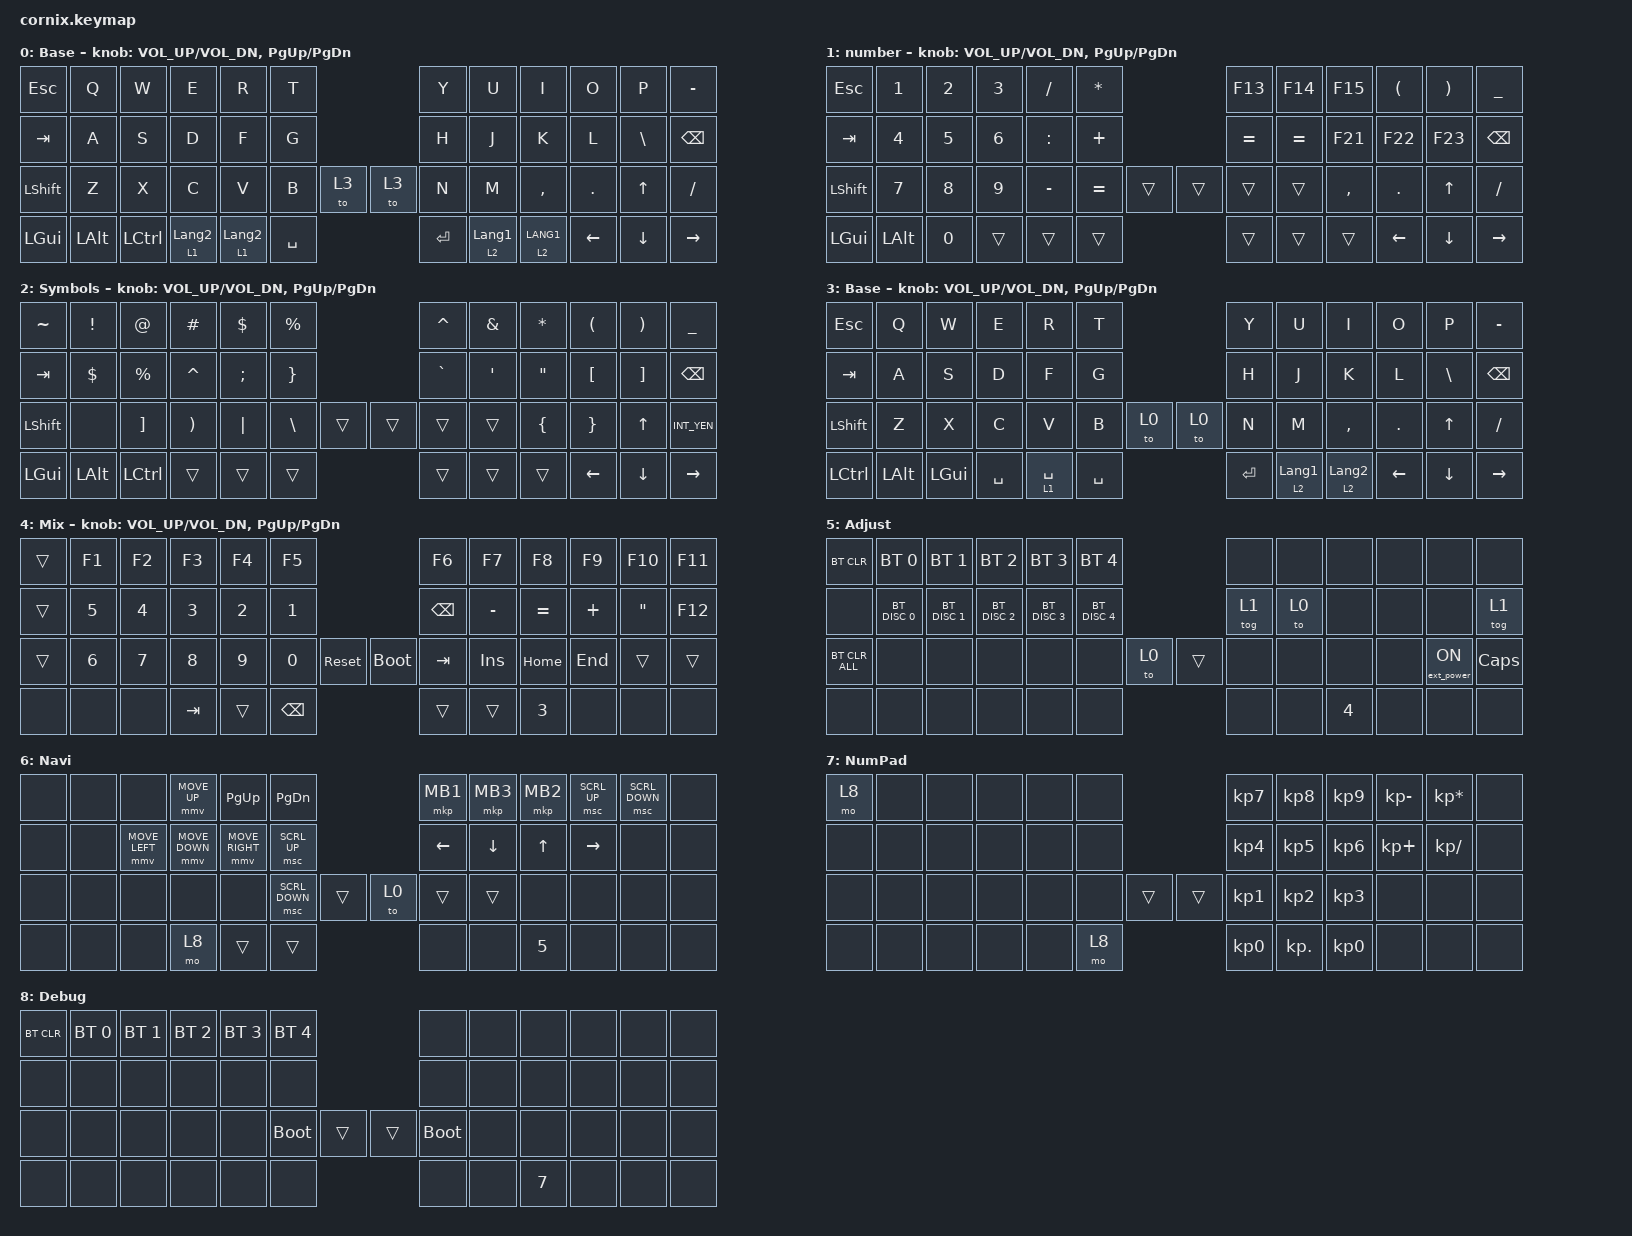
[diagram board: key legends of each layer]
/*
 * Copyright (c) 2020 The ZMK Contributors
 *
 * SPDX-License-Identifier: MIT
 */

#include "zmk-helpers/helper.h"
#include "includes/cornix54.h"

// tap windows for ctl alt and gui

#define HM_TAPPING_TERM 250
#define HM_TAPPING_REPEAT 210

// quick tapping for shift

#define HM_TAPPING_TERM_FAST 200
#define HM_PRIOR_IDLE 70
#define BASE 0
#define WIN 1
#define LOWER 2
#define RAISE 3
#define ADJUST 4
#define NAVI   5
#define NUM    6
#define DEBUG  7

// https://github.com/urob/zmk-config/tree/main#timeless-homerow-mods

#define KEYS_L LT0 LT1 LT2 LT3 LT4 LT5 LM0 LM1 LM2 LM3 LM4 LM5 LB0 LB1 LB2 LB3 LB4 LB5  // left hand
#define KEYS_R RT0 RT1 RT2 RT3 RT4 RT5 RM0 RM1 RM2 RM3 RM4 RM5 RB0 RB1 RB2 RB3 RB4 RB5  // right hand
#define THUMBS LH1 LH0 RH0 RH1
#define KEYS_T LH1 LH0 RH0 RH1
#define ZMK_POINTING_DEFAULT_SCRL_VAL 15

#include <behaviors.dtsi>
#include <dt-bindings/zmk/bt.h>
#include <dt-bindings/zmk/ext_power.h>
#include <dt-bindings/zmk/keys.h>
#include <dt-bindings/zmk/pointing.h>

/ {
    // Activate ADJUST layer by pressing raise and lower

    behaviors {
        hm_l: homerow_mods_left {
            compatible = "zmk,behavior-hold-tap";
            #binding-cells = <2>;
            bindings = <&kp>, <&kp>;

            flavor = "balanced";
            tapping-term-ms = <HM_TAPPING_TERM>;
            quick-tap-ms = <200>;                // repeat on tap-into-hold
            require-prior-idle-ms = <HM_PRIOR_IDLE>;
            hold-trigger-key-positions = <KEYS_R KEYS_T>;
            hold-trigger-on-release;
        };

        hm_r: homerow_mods_right {
            compatible = "zmk,behavior-hold-tap";
            #binding-cells = <2>;
            bindings = <&kp>, <&kp>;

            flavor = "balanced";
            tapping-term-ms = <HM_TAPPING_TERM>;
            quick-tap-ms = <200>;
            require-prior-idle-ms = <HM_PRIOR_IDLE>;
            hold-trigger-key-positions = <KEYS_L KEYS_T>;
            hold-trigger-on-release;
        };

        // Positional Homerow mods for shift
        // Use faster tapping term and disable some features that may
        // cause false negatives.

        hm_shift_l: hm_shift_l {
            compatible = "zmk,behavior-hold-tap";
            #binding-cells = <2>;
            bindings = <&kp>, <&kp>;

            //flavor = "balanced";

            flavor = "balanced";
            tapping-term-ms = <HM_TAPPING_TERM_FAST>;
            quick-tap-ms = <200>;
            require-prior-idle-ms = <HM_PRIOR_IDLE>;
            hold-trigger-key-positions = <KEYS_R KEYS_T>;
            hold-trigger-on-release;
        };

        hm_shift_r: hm_shift_r {
            compatible = "zmk,behavior-hold-tap";
            #binding-cells = <2>;
            bindings = <&kp>, <&kp>;

            flavor = "balanced";
            tapping-term-ms = <HM_TAPPING_TERM_FAST>;
            quick-tap-ms = <200>;
            require-prior-idle-ms = <HM_PRIOR_IDLE>;
            hold-trigger-key-positions = <KEYS_L KEYS_T>;

            // for quick tapping; shift+~

            hold-trigger-on-release;
        };

        /*
         * Non-Positional Homerow Mods
         * Used for &mm_grescm_gui behavior on left hand.
         *
         * Usage: &hm LSHFT T
         * Tap: T
         * Tap-Tap-Hold: Repeat T
         * Hold: LSHIFT
         */

        hm: homerow_mods {
            compatible = "zmk,behavior-hold-tap";
            #binding-cells = <2>;
            bindings = <&kp>, <&kp>;

            flavor = "balanced";
            tapping-term-ms = <HM_TAPPING_TERM>;
            quick-tap-ms = <200>;
        };

        lt: layer_tap {
            compatible = "zmk,behavior-hold-tap";
            #binding-cells = <2>;
            bindings = <&mo>, <&kp>;

            flavor = "hold-preferred";
            tapping-term-ms = <HM_TAPPING_TERM>;
            quick-tap-ms = <200>;
        };
    };

    conditional_layers {
        compatible = "zmk,conditional-layers";

        adjust_layer {
            if-layers = <4 2>;
            then-layer = <5>;
        };
    };

    combos {
        compatible = "zmk,combos";

        layer3 {
            bindings = <&mo 4>;
            key-positions = <46 41 1>;
        };
    };

    macros {
        kagikakko: kagikakko {
            compatible = "zmk,behavior-macro";
            #binding-cells = <0>;
            bindings = <&kp LEFT_BRACKET &kp RIGHT_BRACKET>;
            label = "KAGIKAKKO";
        };
    };

    keymap {
        compatible = "zmk,keymap";

        base {
            display-name = "Base";

            // ------------------------------------------------------------------------------------------------------------
            // |   `   |  1  |  2  |  3   |  4   |  5   |                   |  6   |  7    |  8    |  9   |   0   |       |
            // |  ESC  |  Q  |  W  |  E   |  R   |  T   |                   |  Y   |  U    |  I    |  O   |   P   | BKSPC |
            // |  TAB  |  A  |  S  |  D   |  F   |  G   |                   |  H   |  J    |  K    |  L   |   ;   |   '   |
            // | SHIFT |  Z  |  X  |  C   |  V   |  B   |  MUTE  |  |       |  N   |  M    |  ,    |  .   |   /   | SHIFT |
            //               | GUI | ALT  | CTRL | LOWER|  ENTER |  | SPACE | RAISE| CTRL  | ALT   | GUI  |

            bindings = <
&kp ESC    &kp Q     &kp W      &kp E             &kp R             &kp T                    &kp Y      &kp U             &kp I        &kp O     &kp P           &kp MINUS
&kp TAB    &kp A     &kp S      &kp D             &kp F             &kp G                    &kp H      &kp J             &kp K        &kp L     &kp BSLH        &kp BSPC
&kp LSHFT  &kp Z     &kp X      &kp C             &kp V             &kp B      &to 3  &to 3  &kp N      &kp M             &kp COMMA    &kp DOT   &kp UP_ARROW    &kp FSLH
&kp LGUI   &kp LALT  &kp LCTRL  &lt 1 LANGUAGE_2  &lt 1 LANGUAGE_2  &kp SPACE                &kp ENTER  &lt 2 LANGUAGE_1  &lt 2 LANG1  &kp LEFT  &kp DOWN_ARROW  &kp RIGHT
            >;

            sensor-bindings = <&inc_dec_kp C_VOL_UP C_VOL_DN &inc_dec_kp PG_UP PG_DN>;
        };

        lower {
            display-name = "number";

            // ------------------------------------------------------------------------------------------------------------
            // |   `   |  1  |  2  |  3   |  4   |  5   |                   |  6   |  7    |  8    |  9   |   0   |       |
            // |  ESC  |  Q  |  W  |  E   |  R   |  T   |                   |  Y   |  U    |  I    |  O   |   P   | BKSPC |
            // |  TAB  |  A  |  S  |  D   |  F   |  G   |                   |  H   |  J    |  K    |  L   |   ;   |   '   |
            // | SHIFT |  Z  |  X  |  C   |  V   |  B   |  MUTE  |  |       |  N   |  M    |  ,    |  .   |   /   | SHIFT |
            //               | GUI | ALT  | CTRL | LOWER|  ENTER |  | SPACE | RAISE| CTRL  | ALT   | GUI  |

            bindings = <
&kp ESC    &kp N1    &kp N2  &kp N3  &kp SLASH  &kp ASTERISK                  &kp F13    &kp F14    &kp F15    &kp LEFT_PARENTHESIS  &kp RIGHT_PARENTHESIS  &kp UNDERSCORE
&kp TAB    &kp N4    &kp N5  &kp N6  &kp COLON  &kp PLUS                      &kp EQUAL  &kp EQUAL  &kp F21    &kp F22               &kp F23                &kp BACKSPACE
&kp LSHFT  &kp N7    &kp N8  &kp N9  &kp MINUS  &kp EQUAL     &trans  &trans  &trans     &trans     &kp COMMA  &kp DOT               &kp UP_ARROW           &kp FSLH
&kp LGUI   &kp LALT  &kp N0  &trans  &trans     &trans                        &trans     &trans     &trans     &kp LEFT_ARROW        &kp DOWN_ARROW         &kp RIGHT_ARROW
            >;

            sensor-bindings = <&inc_dec_kp C_VOL_UP C_VOL_DN &inc_dec_kp PG_UP PG_DN>;
        };

        raise {
            display-name = "Symbols";

            // TODO: Some binds are waiting for shifted keycode support.
            // -------------------------------
            // |       |  F1 |  F2 |  F3  |  F4  |  F5  |                   |  F6  |  F7   |  F8   |  F9  |  F10  |  F11  |
            // |   `   |  1  |  2  |  3   |  4   |  5   |                   |  6   |  7    |  8    |  9   |   0   |  F12  |
            // |       |  !  |  @  |  #   |  $   |  %   |                   |  ^   |  &    |  *    |  (   |   )   |   |   |
            // |       |  =  |  -  |  +   |  {   |  }   |        |  |       |  [   |  ]    |  ;    |  :   |   \   |       |
            //               |     |      |      |      |        |  |       |      |       |       |      |

            bindings = <
&kp TILDE  &kp EXCLAMATION  &kp AT       &kp HASH   &kp DLLR       &kp PRCNT                  &kp CARET  &kp AMPS  &kp ASTRK          &kp LPAR          &kp RPAR           &kp UNDERSCORE
&kp TAB    &kp DOLLAR       &kp PERCENT  &kp CARET  &kp SEMICOLON  &kp RBRC                   &kp GRAVE  &kp SQT   &kp DOUBLE_QUOTES  &kp LEFT_BRACKET  &kp RIGHT_BRACKET  &kp BACKSPACE
&kp LSHFT  &none            &kp RBKT     &kp RPAR   &kp PIPE       &kp BSLH   &trans  &trans  &trans     &trans    &kp LEFT_BRACE     &kp RIGHT_BRACE   &kp UP_ARROW       &kp INT_YEN
&kp LGUI   &kp LALT         &kp LCTRL    &trans     &trans         &trans                     &trans     &trans    &trans             &kp LEFT_ARROW    &kp DOWN_ARROW     &kp RIGHT_ARROW
            >;

            sensor-bindings = <&inc_dec_kp C_VOL_UP C_VOL_DN &inc_dec_kp PG_UP PG_DN>;
        };

        windows {
            display-name = "Base";
            bindings = <
&kp ESC           &kp Q     &kp W         &kp E      &kp R        &kp T                    &kp Y      &kp U             &kp I             &kp O     &kp P           &kp MINUS
&kp TAB           &kp A     &kp S         &kp D      &kp F        &kp G                    &kp H      &kp J             &kp K             &kp L     &kp BSLH        &kp BSPC
&kp LSHFT         &kp Z     &kp X         &kp C      &kp V        &kp B      &to 0  &to 0  &kp N      &kp M             &kp COMMA         &kp DOT   &kp UP_ARROW    &kp FSLH
&kp LEFT_CONTROL  &kp LALT  &kp LEFT_GUI  &kp SPACE  &lt 1 SPACE  &kp SPACE                &kp ENTER  &lt 2 LANGUAGE_1  &lt 2 LANGUAGE_2  &kp LEFT  &kp DOWN_ARROW  &kp RIGHT
            >;

            sensor-bindings =
                <&inc_dec_kp C_VOL_UP C_VOL_DN>,
                <&inc_dec_kp PG_UP PG_DN>;
        };

        Mix_layer {
            display-name = "Mix";

            // ------------------------------------------------------------------------------------------------------------
            // | BTCLR | BT1  | BT2  |  BT3  |  BT4  |  BT5 |                |      |      |       |      |       |       |
            // |       | INS  | PSCR | GUI   |       |      |                | PGUP |      |   ^   |      |       |       |
            // |       | ALT  | CTRL | SHIFT |       | CAPS |                | PGDN |   <- |   v   |  ->  |  DEL  | BKSPC |
            // |       | UNDO | CUT  | COPY  | PASTE |      |      |  |      |      |      |       |      |       |       |
            //                |      |       |       |      |      |  |      |      |      |       |      |

            bindings = <
&trans  &kp F1  &kp F2  &kp F3   &kp F4  &kp F5                                  &kp F6    &kp F7     &kp F8     &kp F9    &kp F10  &kp F11
&trans  &kp N5  &kp N4  &kp N3   &kp N2  &kp N1                                  &kp BSPC  &kp MINUS  &kp EQUAL  &kp PLUS  &kp DQT  &kp F12
&trans  &kp N6  &kp N7  &kp N8   &kp N9  &kp N0         &sys_reset  &bootloader  &kp TAB   &kp INS    &kp HOME   &kp END   &trans   &trans
&none   &none   &none   &kp TAB  &trans  &kp BACKSPACE                           &trans    &trans     &kp N3     &none     &none    &none
            >;

            sensor-bindings = <&inc_dec_kp C_VOL_UP C_VOL_DN &inc_dec_kp PG_UP PG_DN>;
        };

        Adjust_layer {
            display-name = "Adjust";

            // ----------------------------------------------------------------------------------------------------------------------------
            // | BTCLR  |  BT1    |  BT2    |   BT3   |   BT4   |   BT5   |                  |      |      |       |      |       |       |
            // | moDEBUG| RGB_HUD | RGB_HUI | RGB_SAD | RGB_SAI | RGB_EFF |                  |      |      |       |      |       |       |
            // | EXTPWR | RGB_BRD | RGB_BRI |         |         |         |                  |      |      |       |      |       |       |
            // |        |         |         |         |         |         | RGB_TOG | |      |      |      |       |      |       |       |
            //                    |         |         |         |         |         | |      |      |      |       |      |

            bindings = <
&bt BT_CLR      &bt BT_SEL 0   &bt BT_SEL 1   &bt BT_SEL 2   &bt BT_SEL 3   &bt BT_SEL 4                  &none   &none  &none   &none  &none             &none
&none           &bt BT_DISC 0  &bt BT_DISC 1  &bt BT_DISC 2  &bt BT_DISC 3  &bt BT_DISC 4                 &tog 1  &to 0  &none   &none  &none             &tog 1
&bt BT_CLR_ALL  &none          &none          &none          &none          &none          &to 0  &trans  &none   &none  &none   &none  &ext_power EP_ON  &kp CAPSLOCK
&none           &none          &none          &none          &none          &none                         &none   &none  &kp N4  &none  &none             &none
            >;
        };

        Navi_layer {
            display-name = "Navi";
            bindings = <
&none  &none  &none           &mmv MOVE_UP    &kp PAGE_UP      &kp PAGE_DOWN                  &mkp MB1  &mkp MB3  &mkp MB2  &msc SCRL_UP  &msc SCRL_DOWN  &none
&none  &none  &mmv MOVE_LEFT  &mmv MOVE_DOWN  &mmv MOVE_RIGHT  &msc SCRL_UP                   &kp LEFT  &kp DOWN  &kp UP    &kp RIGHT     &none           &none
&none  &none  &none           &none           &none            &msc SCRL_DOWN  &trans  &to 0  &trans    &trans    &none     &none         &none           &none
&none  &none  &none           &mo 8           &trans           &trans                         &none     &none     &kp N5    &none         &none           &none
            >;
        };

        KeyPad_layer {
            display-name = "NumPad";
            bindings = <
&mo 8  &none  &none  &none  &none  &none                  &kp KP_N7        &kp KP_N8        &kp KP_N9        &kp KP_MINUS  &kp KP_MULTIPLY  &none
&none  &none  &none  &none  &none  &none                  &kp KP_NUMBER_4  &kp KP_NUMBER_5  &kp KP_N6        &kp KP_PLUS   &kp KP_DIVIDE    &none
&none  &none  &none  &none  &none  &none  &trans  &trans  &kp KP_NUMBER_1  &kp KP_NUMBER_2  &kp KP_N3        &none         &none            &none
&none  &none  &none  &none  &none  &mo 8                  &kp KP_N0        &kp KP_DOT       &kp KP_NUMBER_0  &none         &none            &none
            >;
        };

        Debug_layer {
            display-name = "Debug";

            // ----------------------------------------------------------------------------------------------------------------------------
            // | BTCLR  |  BT1    |  BT2    |   BT3   |   BT4   |   BT5   |                  |      |      |       |      |       |       |
            // | EXTPWR | BTCLR | RGB_HUI | RGB_SAD | RGB_SAI | RGB_EFF |                  |      |      |       |      |       |       |
            // |        | RGB_BRD | RGB_BRI |         |         |         |                  |      |      |       |      |       |       |
            // |        |         |         |         |         |         | RGB_TOG | |      |      |      |       |      |       |       |
            //                    |         |         |         |         |         | |      |      |      |       |      |

            bindings = <
&bt BT_CLR  &bt BT_SEL 0  &bt BT_SEL 1  &bt BT_SEL 2  &bt BT_SEL 3  &bt BT_SEL 4                  &none        &none  &none   &none  &none  &none
&none       &none         &none         &none         &none         &none                         &none        &none  &none   &none  &none  &none
&none       &none         &none         &none         &none         &bootloader   &trans  &trans  &bootloader  &none  &none   &none  &none  &none
&none       &none         &none         &none         &none         &none                         &none        &none  &kp N7  &none  &none  &none
            >;
        };
    };
};
